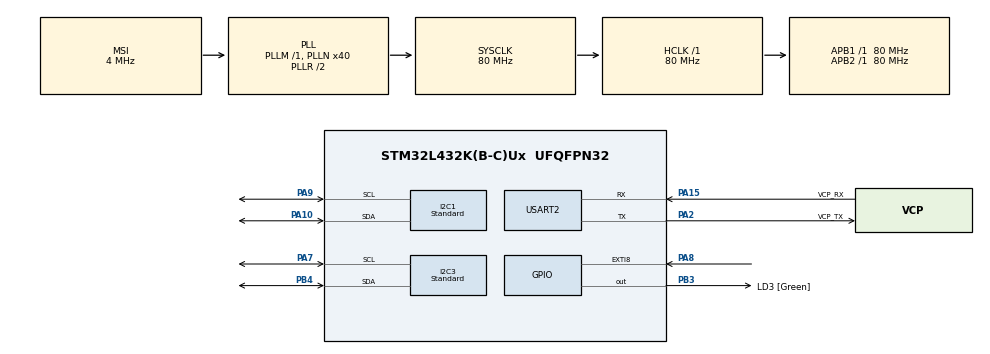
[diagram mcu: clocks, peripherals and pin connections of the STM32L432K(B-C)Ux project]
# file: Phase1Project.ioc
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Dma.I2C1_RX.0.Direction=DMA_PERIPH_TO_MEMORY
Dma.I2C1_RX.0.Instance=DMA1_Channel7
Dma.I2C1_RX.0.MemDataAlignment=DMA_MDATAALIGN_BYTE
Dma.I2C1_RX.0.MemInc=DMA_MINC_ENABLE
Dma.I2C1_RX.0.Mode=DMA_NORMAL
Dma.I2C1_RX.0.PeriphDataAlignment=DMA_PDATAALIGN_BYTE
Dma.I2C1_RX.0.PeriphInc=DMA_PINC_DISABLE
Dma.I2C1_RX.0.Priority=DMA_PRIORITY_LOW
Dma.Request0=I2C1_RX
I2C1.I2C_Fall_Time=10
I2C1.I2C_Rise_Time=100
I2C1.I2C_Speed_Mode=I2C_Standard
I2C1.Timing=0xC0201A20
I2C3.I2C_Speed_Mode=I2C_Standard
I2C3.Timing=0x10D19CE4
Mcu.Family=STM32L4
Mcu.Name=STM32L432K(B-C)Ux
Mcu.Package=UFQFPN32
NVIC.DMA1_Channel7_IRQn=true\:0\:0\:false\:false\:true\:false\:true\:true
NVIC.EXTI9_5_IRQn=true\:0\:0\:false\:false\:true\:true\:true\:true
NVIC.PriorityGroup=NVIC_PRIORITYGROUP_4
NVIC.USART2_IRQn=true\:0\:0\:false\:false\:true\:true\:true\:true
PA0.GPIO_Label=MCO [High speed clock in]
PA0.Mode=HSE-External-Clock-Source-for-LittleOrca
PA0.Signal=RCC_CK_IN
PA10.Mode=I2C
PA10.Signal=I2C1_SDA
PA13\ (JTMS-SWDIO).GPIO_Label=SWDIO
PA13\ (JTMS-SWDIO).Mode=Serial_Wire
PA13\ (JTMS-SWDIO).Signal=SYS_JTMS-SWDIO
PA14\ (JTCK-SWCLK).GPIO_Label=SWCLK
PA14\ (JTCK-SWCLK).Mode=Serial_Wire
PA14\ (JTCK-SWCLK).Signal=SYS_JTCK-SWCLK
PA15\ (JTDI).GPIO_Label=VCP_RX
PA15\ (JTDI).Mode=Asynchronous
PA15\ (JTDI).Signal=USART2_RX
PA2.GPIO_Label=VCP_TX
PA2.Mode=Asynchronous
PA2.Signal=USART2_TX
PA7.Mode=I2C
PA7.Signal=I2C3_SCL
PA8.GPIO_ModeDefaultEXTI=GPIO_MODE_IT_FALLING
PA8.GPIO_PuPd=GPIO_PULLUP
PA8.Signal=GPXTI8
PA9.Mode=I2C
PA9.Signal=I2C1_SCL
PB3\ (JTDO-TRACESWO).GPIO_Label=LD3 [Green]
PB3\ (JTDO-TRACESWO).Signal=GPIO_Output
PB4\ (NJTRST).Mode=I2C
PB4\ (NJTRST).Signal=I2C3_SDA
PC14-OSC32_IN\ (PC14).Mode=LSE-External-Oscillator
PC14-OSC32_IN\ (PC14).Signal=RCC_OSC32_IN
PC15-OSC32_OUT\ (PC15).Mode=LSE-External-Oscillator
PC15-OSC32_OUT\ (PC15).Signal=RCC_OSC32_OUT
ProjectManager.HeapSize=0x200
ProjectManager.StackSize=0x400
ProjectManager.TargetToolchain=MDK-ARM V5.32
RCC.AHBFreq_Value=80000000
RCC.APB1Freq_Value=80000000
RCC.APB1TimFreq_Value=80000000
RCC.APB2Freq_Value=80000000
RCC.APB2TimFreq_Value=80000000
RCC.CortexFreq_Value=80000000
RCC.HCLKFreq_Value=80000000
RCC.HSE_VALUE=8000000
RCC.HSI16_VALUE=16000000
RCC.HSI48_VALUE=48000000
RCC.HSI_VALUE=16000000
RCC.MSI_VALUE=4000000
RCC.PLLMUL=RCC_PLLMUL_4
RCC.PLLN=40
RCC.SYSCLKFreq_VALUE=80000000
RCC.SYSCLKSource=RCC_SYSCLKSOURCE_PLLCLK
RCC.VCOOutputFreq_Value=160000000
TIM2.Period=0xffffffff
TIM2.Prescaler=79
USART2.VirtualMode-Asynchronous=VM_ASYNC
VP_TIM2_VS_ClockSourceINT.Mode=Internal
board=NUCLEO-L432KC

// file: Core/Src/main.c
/* USER CODE BEGIN Header */
/**
  * @file           : main.c
  * @brief          : Optimized Main - Low Flash Debug
  */
/* USER CODE END Header */

#include "main.h"

/* USER CODE BEGIN Includes */
#include "max30102.h"
#include "u8g2.h"
#include "display.h"
#include "hrv.h"
#include <stdio.h>
#include <string.h>
/* USER CODE END Includes */

I2C_HandleTypeDef hi2c1;
I2C_HandleTypeDef hi2c3;
DMA_HandleTypeDef hdma_i2c1_rx;
TIM_HandleTypeDef htim2;
UART_HandleTypeDef huart2;

/* USER CODE BEGIN PV */
u8g2_t  u8g2;
HRV_t   hrv;
/* Add these at the top with your other private variables */
/* Replace your peak-detection private variables with these */
static int32_t  ppg_prev      = 0;
static int32_t  ppg_prev2     = 0;
static uint32_t last_peak_ms  = 0;
static int32_t  ppg_min       = 0;
static int32_t  ppg_max       = 0;
uint32_t t_fifo = 0;
uint32_t t_hrv  = 0;
uint32_t t_disp = 0;

int32_t  wave_buf[128] = {0};
uint8_t  wave_idx      = 0;

static uint32_t dbg_fifo_reads   = 0;
static uint32_t dbg_fifo_empty   = 0;
static uint32_t dbg_fifo_errors  = 0;
static uint32_t dbg_beat_count   = 0;
static uint32_t dbg_disp_count   = 0;
static uint8_t  max_ok           = 0;   /* 1 = MAX30102 init succeeded */
static int32_t  last_ir          = 0;   /* latest raw IR value         */
/* USER CODE END PV */

void SystemClock_Config(void);
static void MX_GPIO_Init(void);
static void MX_DMA_Init(void);
static void MX_I2C1_Init(void);
static void MX_USART2_UART_Init(void);
static void MX_I2C3_Init(void);
static void MX_TIM2_Init(void);

/* USER CODE BEGIN PFP */
uint8_t u8x8_byte_stm32_hw_i2c(u8x8_t *u8x8, uint8_t msg, uint8_t arg_int, void *arg_ptr);
uint8_t u8x8_gpio_delay_stm32(u8x8_t *u8x8, uint8_t msg, uint8_t arg_int, void *arg_ptr);
/* USER CODE END PFP */

/* USER CODE BEGIN 0 */

#define DBG(fmt, ...) \
    do { \
        char _b[80]; \
        int  _n = snprintf(_b, sizeof(_b), fmt, ##__VA_ARGS__); \
        HAL_UART_Transmit(&huart2, (uint8_t*)_b, (uint16_t)_n, 100); \
    } while(0)

static void stage(const char *name) {
    DBG("> STG: %s\r\n", name);
}

static void i2c_scan(I2C_HandleTypeDef *hi2c, const char *bus) {
    DBG("Scan %s:\r\n", bus);
    uint8_t found = 0;
    for (uint16_t addr = 1; addr < 128; addr++) {
        if (HAL_I2C_IsDeviceReady(hi2c, (uint16_t)(addr << 1), 3, 5) == HAL_OK) {
            DBG(" +0x%02X\r\n", addr);
            found++;
        }
    }
    if (found == 0) DBG(" NONE\r\n");
}

static void max30102_reg_dump(I2C_HandleTypeDef *hi2c) {
    uint8_t regs[] = {0x00, 0x01, 0x04, 0x05, 0x06, 0x09, 0x0A, 0x0C, 0x0D, 0xFF};
    uint8_t val;
    DBG("REGS:\r\n");
    for (uint8_t i = 0; i < 10; i++) {
        if (HAL_I2C_Mem_Read(hi2c, 0xAE, regs[i], 1, &val, 1, 20) == HAL_OK)
            DBG(" %02X:%02X\r\n", regs[i], val);
    }
}

/* USER CODE END 0 */

int main(void)
{
    HAL_Init();
    SystemClock_Config();
    MX_GPIO_Init();
    MX_DMA_Init();
    MX_USART2_UART_Init();
    HAL_Delay(10);

    DBG("\r\n** BOOT **\r\n");
    DBG("CLK: %uHz\r\n", (unsigned int)SystemCoreClock);

    stage("LED");
    for (int i = 0; i < 6; i++) {
        HAL_GPIO_TogglePin(LD3_GPIO_Port, LD3_Pin);
        HAL_Delay(100);
    }
stage("I2C3");
    MX_I2C3_Init();
    i2c_scan(&hi2c3, "I2C3");   // should show 0x3C (OLED)

    stage("I2C1");
    MX_I2C1_Init();
    i2c_scan(&hi2c1, "I2C1");   // should show 0x57 (MAX30102) when wired + finger on

    stage("TIM2");
    MX_TIM2_Init();
    if (HAL_TIM_Base_Start(&htim2) != HAL_OK) {
        DBG("TIM2 FAIL\r\n");
    }

    stage("MAX30102");
    if (MAX30102_Init(&hi2c1) != HAL_OK) {          // back to hi2c1
        DBG("MAX FAIL\r\n");
        max_ok = 0;
    } else {
        DBG("MAX OK\r\n");
        max_ok = 1;
        max30102_reg_dump(&hi2c1);                  // back to hi2c1
    }

    stage("OLED");
    u8g2_Setup_ssd1306_i2c_128x64_noname_f(&u8g2, U8G2_R0, u8x8_byte_stm32_hw_i2c, u8x8_gpio_delay_stm32);
    u8g2_InitDisplay(&u8g2);
    u8g2_SetPowerSave(&u8g2, 0);
    u8g2_ClearBuffer(&u8g2);
    u8g2_SetFont(&u8g2, u8g2_font_ncenB08_tr);
    u8g2_DrawStr(&u8g2, 10, 35, max_ok ? "MAX OK" : "MAX FAIL");
    u8g2_SendBuffer(&u8g2);
    HAL_Delay(1000);   /* show MAX status briefly before main loop     */

    stage("HRV");
    memset(&hrv, 0, sizeof(hrv));

    uint32_t dbg_status_timer = HAL_GetTick();

    while (1)
    {
        uint32_t now = HAL_GetTick();

/* FIFO Poll — every 10 ms */
/* FIFO Poll — drain all available samples every 10ms */
        if (now - t_fifo >= 10)
        {
            t_fifo = now;

            uint8_t navail = MAX30102_SamplesAvailable(&hi2c1);

            if (navail == 0) {
                dbg_fifo_empty++;
            } else {
                /* Drain up to navail samples in one poll cycle */
                for (uint8_t s = 0; s < navail && s < 8; s++)
                {
                    uint32_t r_v = 0, i_v = 0;
                    if (MAX30102_ReadRaw(&hi2c1, &r_v, &i_v) != HAL_OK) {
                        dbg_fifo_errors++;
                        break;
                    }
                    dbg_fifo_reads++;
                    last_ir = (int32_t)i_v;
                    if (i_v == 0 && (dbg_fifo_reads % 100 == 1)) DBG("!FINGER\r\n");

                    int32_t flt = process_ppg_signal((int32_t)i_v);
                    flt = -flt;
                    wave_buf[wave_idx % 128] = flt;
                    wave_idx++;

                    if (dbg_fifo_reads == 1) { ppg_max = flt; ppg_min = flt; }
                    if (flt > ppg_max) ppg_max = flt;
                    if (flt < ppg_min) ppg_min = flt;

                    if (dbg_fifo_reads % 500 == 0) {
                        int32_t mid = (ppg_max + ppg_min) / 2;
                        ppg_max = mid + ((ppg_max - mid) * 15) / 16;
                        ppg_min = mid + ((ppg_min - mid) * 15) / 16;
                    }

                    int32_t range     = ppg_max - ppg_min;
                    int32_t threshold = ppg_min + (range * 6 / 10);

                    if (ppg_prev2 < ppg_prev &&
                        ppg_prev  > flt       &&
                        ppg_prev  > threshold &&
                        ppg_prev  > 0         &&
                        range     > 200)
                    {
                        uint32_t gap_ms = now - last_peak_ms;

                        if (last_peak_ms == 0) {
                            last_peak_ms = now;
                        } else if (gap_ms >= 400 && gap_ms <= 2000) {
                            uint32_t ts = __HAL_TIM_GET_COUNTER(&htim2);
                            HRV_OnBeat(&hrv, ts);
                            dbg_beat_count++;
                            DBG("BEAT %u bpm\r\n", (unsigned int)(60000UL / gap_ms));
                            last_peak_ms = now;
                        } else if (gap_ms > 2000) {
                            last_peak_ms = now;
                        }
                        /* gap < 400: refractory, do nothing */
                    }

                    ppg_prev2 = ppg_prev;
                    ppg_prev  = flt;
                }
            }

            /* If FIFO had overflow, reset it */
            if (navail >= 30) {
                DBG("!FIFO OVF\r\n");
                MAX30102_Init(&hi2c1);
                ppg_prev = 0; ppg_prev2 = 0;
                ppg_max = 0;  ppg_min = 0;
            }
        }
        /* HRV Compute — every 5 s */
/* HRV Compute — every 5 s */
if (now - t_hrv >= 5000)
{
    t_hrv = now;
    HRV_Compute(&hrv);

    if (hrv.valid) {
        const char* status_label;

        // Naming logic based on the 0-100 stress_index
        if (hrv.stress_index > 70)      status_label = "HIGH STRESS";
        else if (hrv.stress_index > 40) status_label = "MEDIUM";
        else if (hrv.stress_index > 20) status_label = "RELAXED";
        else                            status_label = "VERY RELAXED";

        DBG("\r\n--- BIOMETRIC STATUS ---\r\n");
        DBG("MAX30102: %s\r\n", max_ok ? "OK" : "ERROR");
        DBG("HEART RATE: %u BPM\r\n", hrv.hr_bpm);
        DBG("STRESS:     %u/100\r\n", hrv.stress_index);
        DBG("STATE:      %s\r\n", status_label);
        DBG("------------------------\r\n");
    } else {
        DBG("CALCULATING... (Need more beats)\r\n");
    }
}

        /* Display Update — every 250 ms */
        if (now - t_disp >= 250)
        {
            t_disp = now;
            dbg_disp_count++;
            int32_t render[128];
            for (int i = 0; i < 128; i++) render[i] = wave_buf[(wave_idx + i) % 128];
            display_update(&u8g2, hrv.hr_bpm, 98, hrv.stress_index, render);
        }

        /* Status heartbeat — every 2 s */
        if (now - dbg_status_timer >= 2000)
        {
            dbg_status_timer = now;
            DBG("ST| MAX:%s IR:%ld OK:%u E:%u Er:%u B:%u\r\n",
                max_ok ? "OK" : "FAIL",
                (long)last_ir,
                (unsigned int)dbg_fifo_reads,
                (unsigned int)dbg_fifo_empty,
                (unsigned int)dbg_fifo_errors,
                (unsigned int)dbg_beat_count);
            HAL_GPIO_TogglePin(LD3_GPIO_Port, LD3_Pin);
        }
    }
}

/* Peripheral Inits (unchanged) */
void SystemClock_Config(void) {
    RCC_OscInitTypeDef RCC_OscInitStruct = {0};
    RCC_ClkInitTypeDef RCC_ClkInitStruct = {0};
    if (HAL_PWREx_ControlVoltageScaling(PWR_REGULATOR_VOLTAGE_SCALE1) != HAL_OK) Error_Handler();
    HAL_PWR_EnableBkUpAccess();
    __HAL_RCC_LSEDRIVE_CONFIG(RCC_LSEDRIVE_LOW);
    RCC_OscInitStruct.OscillatorType = RCC_OSCILLATORTYPE_LSE | RCC_OSCILLATORTYPE_MSI;
    RCC_OscInitStruct.LSEState = RCC_LSE_ON;
    RCC_OscInitStruct.MSIState = RCC_MSI_ON;
    RCC_OscInitStruct.MSICalibrationValue = 0;
    RCC_OscInitStruct.MSIClockRange = RCC_MSIRANGE_6;
    RCC_OscInitStruct.PLL.PLLState = RCC_PLL_ON;
    RCC_OscInitStruct.PLL.PLLSource = RCC_PLLSOURCE_MSI;
    RCC_OscInitStruct.PLL.PLLM = 1;
    RCC_OscInitStruct.PLL.PLLN = 40;
    RCC_OscInitStruct.PLL.PLLP = RCC_PLLP_DIV7;
    RCC_OscInitStruct.PLL.PLLQ = RCC_PLLQ_DIV2;
    RCC_OscInitStruct.PLL.PLLR = RCC_PLLR_DIV2;
    if (HAL_RCC_OscConfig(&RCC_OscInitStruct) != HAL_OK) Error_Handler();
    RCC_ClkInitStruct.ClockType = RCC_CLOCKTYPE_HCLK|RCC_CLOCKTYPE_SYSCLK|RCC_CLOCKTYPE_PCLK1|RCC_CLOCKTYPE_PCLK2;
    RCC_ClkInitStruct.SYSCLKSource = RCC_SYSCLKSOURCE_PLLCLK;
    RCC_ClkInitStruct.AHBCLKDivider = RCC_SYSCLK_DIV1;
    RCC_ClkInitStruct.APB1CLKDivider = RCC_HCLK_DIV1;
    RCC_ClkInitStruct.APB2CLKDivider = RCC_HCLK_DIV1;
    if (HAL_RCC_ClockConfig(&RCC_ClkInitStruct, FLASH_LATENCY_4) != HAL_OK) Error_Handler();
    HAL_RCCEx_EnableMSIPLLMode();
}

static void MX_I2C1_Init(void) {
    hi2c1.Instance = I2C1;
    hi2c1.Init.Timing = 0xC0201A20;
    hi2c1.Init.AddressingMode = I2C_ADDRESSINGMODE_7BIT;
    if (HAL_I2C_Init(&hi2c1) != HAL_OK) Error_Handler();
}

static void MX_I2C3_Init(void) {
    hi2c3.Instance = I2C3;
    hi2c3.Init.Timing = 0x10D19CE4;
    hi2c3.Init.AddressingMode = I2C_ADDRESSINGMODE_7BIT;
    if (HAL_I2C_Init(&hi2c3) != HAL_OK) Error_Handler();
}

static void MX_TIM2_Init(void) {
    htim2.Instance = TIM2;
    htim2.Init.Prescaler = 79;
    htim2.Init.CounterMode = TIM_COUNTERMODE_UP;
    htim2.Init.Period = 0xFFFFFFFF;
    if (HAL_TIM_Base_Init(&htim2) != HAL_OK) Error_Handler();
}

static void MX_USART2_UART_Init(void) {
    huart2.Instance = USART2;
    huart2.Init.BaudRate = 115200;
    huart2.Init.WordLength = UART_WORDLENGTH_8B;
    huart2.Init.StopBits = UART_STOPBITS_1;
    huart2.Init.Parity = UART_PARITY_NONE;
    huart2.Init.Mode = UART_MODE_TX_RX;
    if (HAL_UART_Init(&huart2) != HAL_OK) Error_Handler();
}

static void MX_DMA_Init(void) {
    __HAL_RCC_DMA1_CLK_ENABLE();
    HAL_NVIC_SetPriority(DMA1_Channel7_IRQn, 0, 0);
    HAL_NVIC_EnableIRQ(DMA1_Channel7_IRQn);
}

static void MX_GPIO_Init(void) {
    GPIO_InitTypeDef GPIO_InitStruct = {0};
    __HAL_RCC_GPIOA_CLK_ENABLE();
    __HAL_RCC_GPIOB_CLK_ENABLE();
    HAL_GPIO_WritePin(LD3_GPIO_Port, LD3_Pin, GPIO_PIN_RESET);
    GPIO_InitStruct.Pin = GPIO_PIN_8;
    GPIO_InitStruct.Mode = GPIO_MODE_IT_FALLING;
    GPIO_InitStruct.Pull = GPIO_PULLUP;
    HAL_GPIO_Init(GPIOA, &GPIO_InitStruct);
    GPIO_InitStruct.Pin = LD3_Pin;
    GPIO_InitStruct.Mode = GPIO_MODE_OUTPUT_PP;
    HAL_GPIO_Init(LD3_GPIO_Port, &GPIO_InitStruct);
    HAL_NVIC_SetPriority(EXTI9_5_IRQn, 0, 0);
    HAL_NVIC_EnableIRQ(EXTI9_5_IRQn);
}

void HAL_GPIO_EXTI_Callback(uint16_t GPIO_Pin) {
    (void)GPIO_Pin;

}

void Error_Handler(void) {
    while (1) {
        HAL_GPIO_TogglePin(LD3_GPIO_Port, LD3_Pin);
        for (volatile uint32_t d = 0; d < 800000UL; d++);
    }
}
